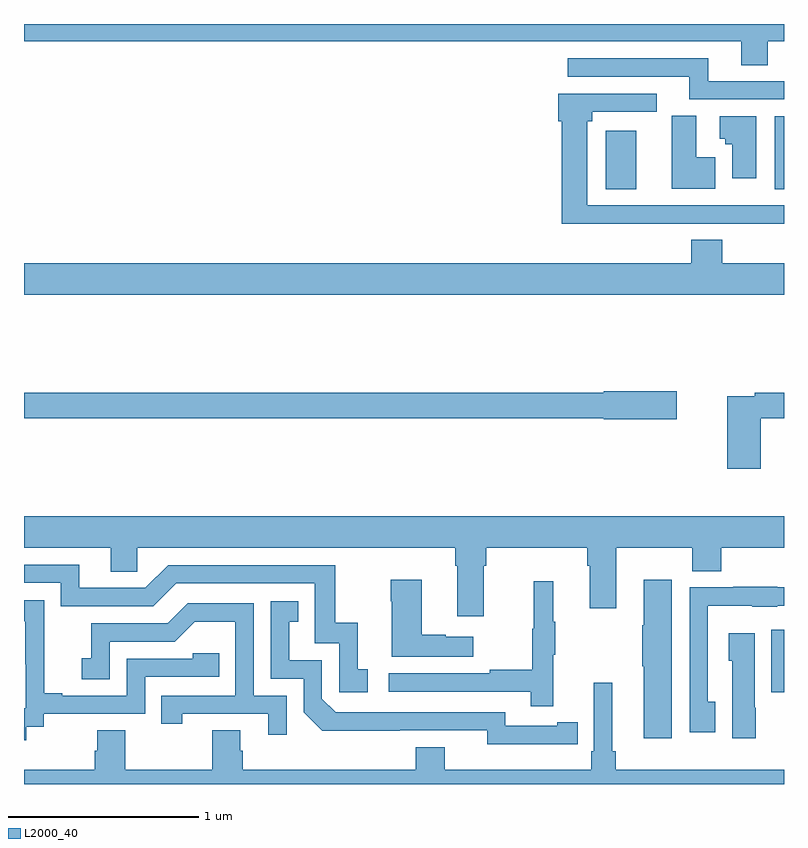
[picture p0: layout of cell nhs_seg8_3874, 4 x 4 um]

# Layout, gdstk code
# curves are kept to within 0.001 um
import gdstk
lib = gdstk.Library(unit=1e-6, precision=1e-09)
def R(c, l, rs):  # rectangles x0, y0, x1, y1
    for r in rs: c.add(gdstk.rectangle(r[:2], r[2:], *l))
def P(c, l, *ps):  # polygons
    for p in ps: c.add(gdstk.Polygon(p, *l))
L2000_40 = (2000, 40)

nhs_seg8_3874 = lib.new_cell('nhs_seg8_3874')
R(nhs_seg8_3874, L2000_40, [(352.934,1138.383,353,1138.711), (352.061,1141.03,352.222,1141.339), (352.952,1141.03,353,1141.414)])
P(nhs_seg8_3874, L2000_40, [(352.915,1141.808),(353,1141.808),(353,1141.9),(349,1141.9),(349,1141.808),(352.775,1141.808),(352.775,1141.684),(352.915,1141.684)],
  [(353,1141.599),(352.6,1141.599),(352.6,1141.719),(351.861,1141.719),(351.861,1141.623),(352.502,1141.623),(352.502,1141.503),(353,1141.503)],
  [(352.427,1140.849),(352.759,1140.849),(352.759,1140.848),(353,1140.848),(353,1140.945),(351.964,1140.945),(351.964,1141.389),(351.99,1141.389),(351.99,1141.437),(352.33,1141.437),(352.33,1141.533),(351.812,1141.533),(351.812,1141.389),(351.83,1141.389),(351.83,1140.848),(352.427,1140.848)],
  [(352.639,1141.2),(352.537,1141.2),(352.537,1141.417),(352.409,1141.417),(352.409,1141.034),(352.639,1141.034)],
  [(352.855,1141.414),(352.661,1141.414),(352.661,1141.295),(352.692,1141.295),(352.692,1141.267),(352.727,1141.267),(352.727,1141.089),(352.855,1141.089)],
  [(353,1140.64),(352.676,1140.64),(352.676,1140.764),(352.511,1140.764),(352.511,1140.64),(349,1140.64),(349,1140.476),(353,1140.476)],
  [(352.435,1139.966),(352.05,1139.966),(352.05,1139.96),(349,1139.96),(349,1139.824),(352.05,1139.824),(352.05,1139.819),(352.435,1139.819)],
  [(352.878,1139.824),(353,1139.824),(353,1139.96),(352.846,1139.96),(352.846,1139.94),(352.7,1139.94),(352.7,1139.559),(352.878,1139.559)],
  [(351.421,1139.048),(351.434,1139.048),(351.434,1139.144),(351.965,1139.144),(351.965,1139.048),(351.977,1139.048),(351.977,1138.824),(352.117,1138.824),(352.117,1139.144),(352.516,1139.144),(352.516,1139.02),(352.671,1139.02),(352.671,1139.144),(353,1139.144),(353,1139.308),(349,1139.308),(349,1139.144),(349.457,1139.144),(349.457,1139.017),(349.596,1139.017),(349.596,1139.144),(351.269,1139.144),(351.269,1139.048),(351.281,1139.048),(351.281,1138.782),(351.421,1138.782)],
  [(350.809,1138.503),(350.756,1138.503),(350.756,1138.75),(350.638,1138.75),(350.638,1139.052),(349.758,1139.052),(349.638,1138.932),(349.291,1138.932),(349.291,1139.055),(349,1139.055),(349,1138.959),(349.194,1138.959),(349.194,1138.836),(349.68,1138.836),(349.8,1138.956),(350.529,1138.956),(350.529,1138.641),(350.658,1138.641),(350.658,1138.383),(350.809,1138.383)],
  [(351.364,1138.675),(351.221,1138.675),(351.221,1138.685),(351.094,1138.685),(351.094,1138.975),(350.929,1138.975),(350.929,1138.862),(350.936,1138.862),(350.936,1138.571),(351.364,1138.571)],
  [(352.408,1138.975),(352.262,1138.975),(352.262,1138.736),(352.255,1138.736),(352.255,1138.519),(352.262,1138.519),(352.262,1138.14),(352.408,1138.14)],
  [(351.785,1138.579),(351.796,1138.579),(351.796,1138.753),(351.785,1138.753),(351.785,1138.966),(351.682,1138.966),(351.682,1138.716),(351.675,1138.716),(351.675,1138.502),(351.451,1138.502),(351.451,1138.482),(350.919,1138.482),(350.919,1138.386),(351.667,1138.386),(351.667,1138.308),(351.785,1138.308)],
  [(352.639,1138.334),(352.599,1138.334),(352.599,1138.838),(352.833,1138.838),(352.833,1138.832),(352.965,1138.832),(352.965,1138.839),(353,1138.839),(353,1138.935),(352.965,1138.935),(352.965,1138.937),(352.733,1138.937),(352.733,1138.935),(352.503,1138.935),(352.503,1138.173),(352.639,1138.173)],
  [(349.012,1138.201),(349.104,1138.201),(349.104,1138.269),(349.638,1138.269),(349.638,1138.464),(350.027,1138.464),(350.027,1138.587),(349.887,1138.587),(349.887,1138.56),(349.542,1138.56),(349.542,1138.365),(349.201,1138.365),(349.201,1138.378),(349.106,1138.378),(349.106,1138.661),(349.107,1138.661),(349.107,1138.867),(349,1138.867),(349,1138.757),(349.007,1138.757),(349.007,1138.529),(349.008,1138.529),(349.008,1138.299),(349,1138.299),(349,1138.131),(349.012,1138.131)],
  [(351.806,1138.11),(351.914,1138.11),(351.914,1138.226),(351.806,1138.226),(351.806,1138.206),(351.534,1138.206),(351.534,1138.278),(350.64,1138.278),(350.568,1138.35),(350.568,1138.551),(350.395,1138.551),(350.395,1138.755),(350.444,1138.755),(350.444,1138.861),(350.298,1138.861),(350.298,1138.455),(350.472,1138.455),(350.472,1138.278),(350.57,1138.181),(351.438,1138.182),(351.438,1138.109)],
  [(350.382,1138.365),(350.208,1138.365),(350.208,1138.851),(349.862,1138.851),(349.757,1138.746),(349.354,1138.746),(349.354,1138.561),(349.305,1138.561),(349.305,1138.452),(349.452,1138.452),(349.452,1138.65),(349.794,1138.65),(349.898,1138.754),(350.112,1138.754),(350.112,1138.365),(349.723,1138.365),(349.723,1138.218),(349.834,1138.218),(349.834,1138.269),(350.285,1138.269),(350.285,1138.158),(350.382,1138.158)],
  [(352.852,1138.302),(352.846,1138.302),(352.846,1138.693),(352.709,1138.693),(352.709,1138.548),(352.727,1138.548),(352.727,1138.14),(352.852,1138.14)],
  [(349.99,1138.184),(349.99,1137.976),(349.533,1137.976),(349.533,1138.184),(349.385,1138.184),(349.385,1138.074),(349.373,1138.074),(349.373,1137.976),(349,1137.976),(349,1137.9),(353,1137.9),(353,1137.976),(352.115,1137.976),(352.115,1138.072),(352.096,1138.072),(352.096,1138.432),(351.999,1138.432),(351.999,1138.072),(351.986,1138.072),(351.986,1137.976),(351.214,1137.976),(351.214,1138.093),(351.062,1138.093),(351.062,1137.976),(350.15,1137.976),(350.15,1138.074),(350.137,1138.074),(350.137,1138.184)])

lib.write_gds('nhs_seg8_3874.gds')
